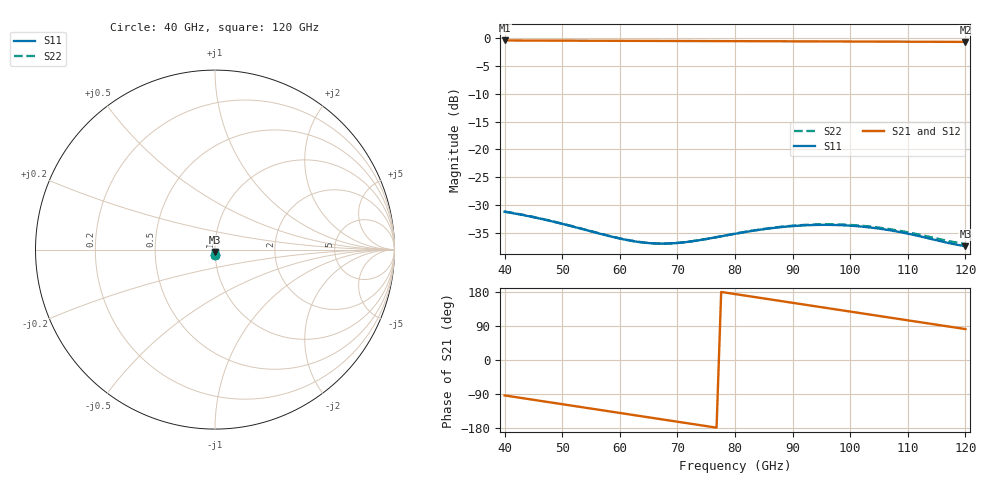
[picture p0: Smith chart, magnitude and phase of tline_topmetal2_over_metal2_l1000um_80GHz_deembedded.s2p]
! Created with skrf 2.2.0 (http://scikit-rf.org).
# GHz S DB R 50.0
! Port[1] = P1
! Port[2] = P2
!freq dBS11 angS11 dBS21 angS21 dBS12 angS12 dBS22 angS22
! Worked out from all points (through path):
!   101 points, 40 GHz to 120 GHz, reference 50 ohm
!   highest |S21| = -0.41 dB at 40 GHz (marker M1); lowest = -0.7 dB at 120 GHz (marker M2)
!   group delay of S21, straight-line fit = 6.42 ps
!   lowest |S11| = -37.4 dB at 120 GHz (marker M3), VSWR 1.03, Z = 49.7 - j1.32 ohm
!   |S11| at or under -10 dB: start of sweep to end of sweep
!   |S22| runs from -37.0 to -31.2 dB; largest |S21 - S12| = 2.2e-14
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40  -31.20 -87.6  -0.41 -93.5  -0.41 -93.5  -31.16 -87.6
43.2  -31.80 -93.4  -0.42 -100.9  -0.42 -100.9  -31.75 -93.5
46.4  -32.49 -98.4  -0.44 -108.3  -0.44 -108.3  -32.45 -98.4
49.6  -33.27 -102.3  -0.45 -115.7  -0.45 -115.7  -33.23 -102.4
53.6  -34.34 -105.3  -0.46 -124.9  -0.46 -124.9  -34.29 -105.4
60.8  -36.19 -103.7  -0.48 -141.6  -0.48 -141.6  -36.15 -103.9
64  -36.72 -100.2  -0.49 -149.0  -0.49 -149.0  -36.70 -100.3
67.2  -36.93 -95.6  -0.50 -156.4  -0.50 -156.4  -36.91 -95.7
70.4  -36.77 -91.3  -0.51 -163.8  -0.51 -163.8  -36.76 -91.2
73.6  -36.34 -88.1  -0.52 -171.2  -0.52 -171.2  -36.33 -87.9
76.8  -35.76 -86.5  -0.53 -178.6  -0.53 -178.6  -35.75 -86.2
80  -35.16 -86.4  -0.54 174.0  -0.54 174.0  -35.14 -86.0
83.2  -34.60 -87.7  -0.55 166.6  -0.55 166.6  -34.57 -87.2
86.4  -34.14 -89.9  -0.56 159.2  -0.56 159.2  -34.10 -89.3
89.6  -33.81 -92.8  -0.57 151.8  -0.57 151.8  -33.75 -92.1
93.6  -33.58 -96.9  -0.58 142.6  -0.58 142.6  -33.50 -96.1
100.8  -33.76 -104.5  -0.61 126.0  -0.61 126.0  -33.62 -103.6
107.2  -34.58 -109.4  -0.63 111.2  -0.63 111.2  -34.38 -108.5
110.4  -35.22 -110.4  -0.64 103.8  -0.64 103.8  -34.98 -109.5
113.6  -35.97 -109.7  -0.65 96.4  -0.65 96.4  -35.68 -108.9
116.8  -36.75 -106.6  -0.66 89.0  -0.66 89.0  -36.41 -106.2
120  -37.38 -100.9  -0.67 81.6  -0.67 81.6  -37.00 -101.0
